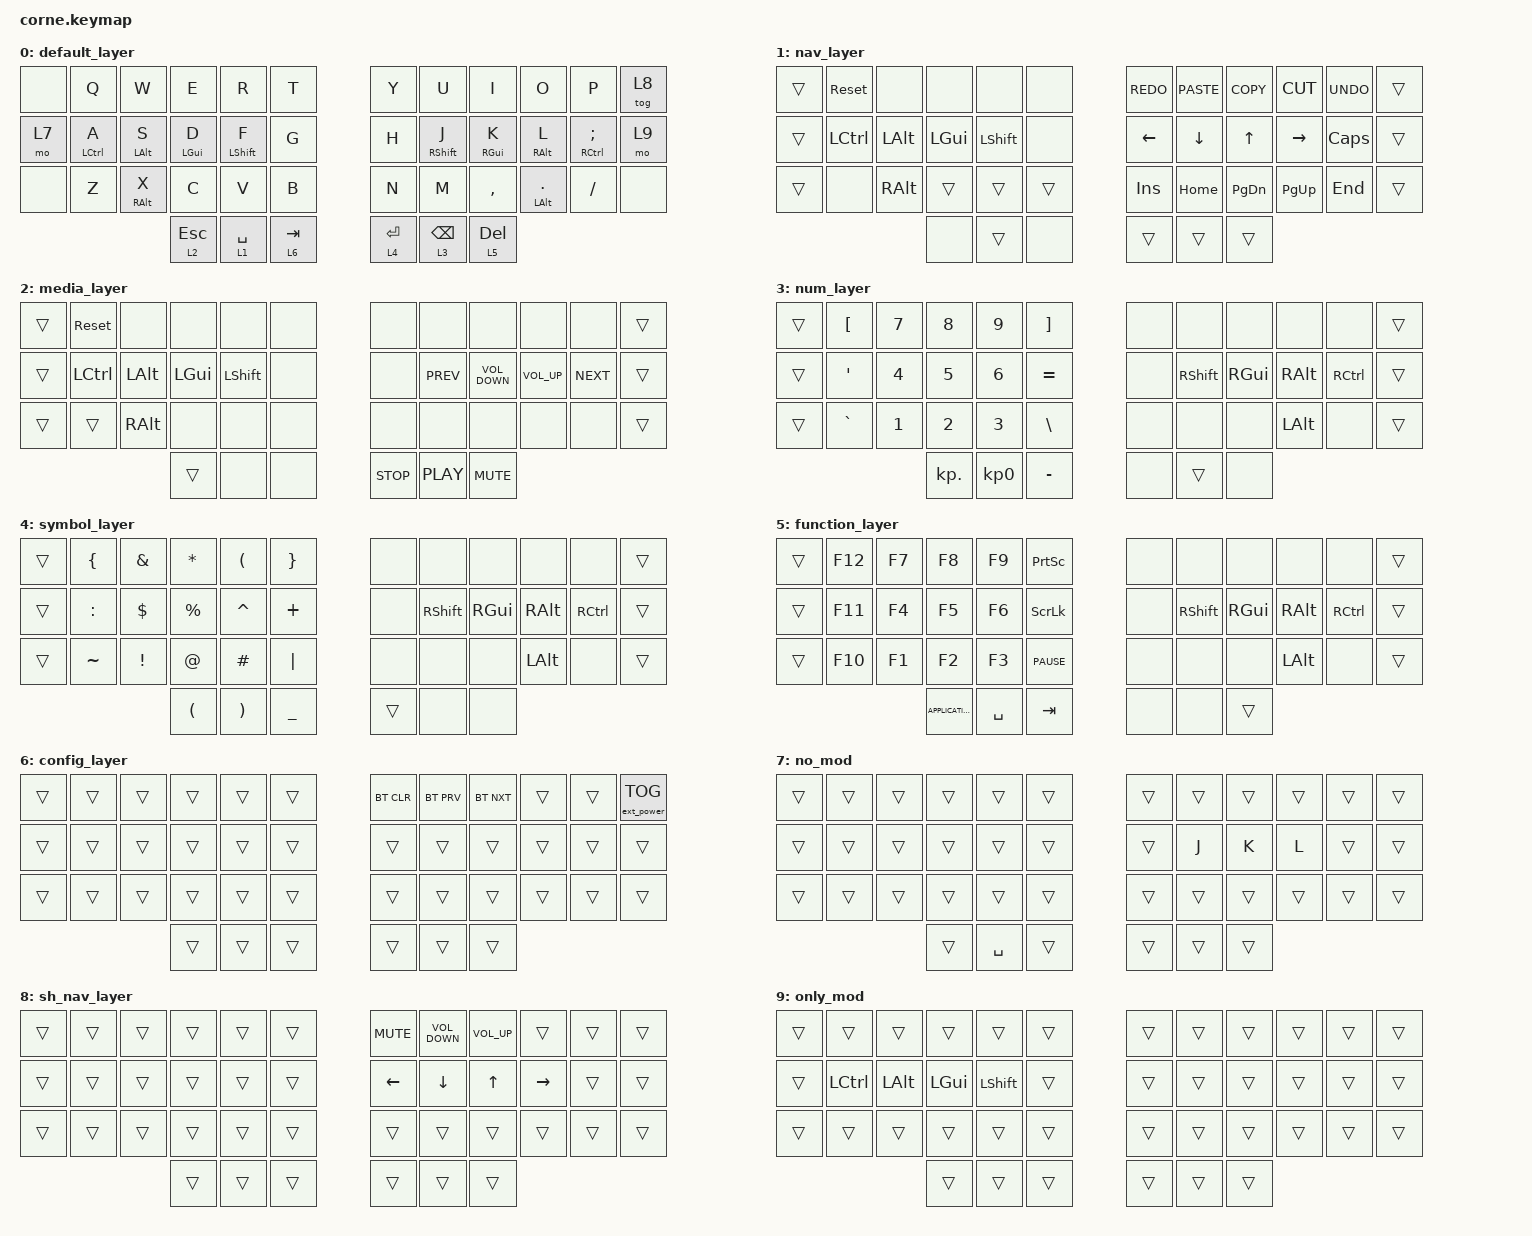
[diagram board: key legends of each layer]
/*
 * Copyright (c) 2020 The ZMK Contributors
 *
 * SPDX-License-Identifier: MIT
 */

#include <behaviors.dtsi>
#include <dt-bindings/zmk/bt.h>
#include <dt-bindings/zmk/ext_power.h>
#include <dt-bindings/zmk/keys.h>

&mt { tapping-term-ms = <300>; };

/ {
    keymap {
        compatible = "zmk,keymap";

        default_layer {
            // -----------------------------------------------------------------------------------------
            // |  TAB |  Q  |  W  |  E  |  R  |  T  |   |  Y  |  U   |  I  |  O  |  P  | BKSP |
            // | CTRL |  A  |  S  |  D  |  F  |  G  |   |  H  |  J   |  K  |  L  |  ;  |  '   |
            // | SHFT |  Z  |  X  |  C  |  V  |  B  |   |  N  |  M   |  ,  |  .  |  /  | ESC  |
            //                    | GUI | LWR | SPC |   | ENT | RSE  | ALT |

            bindings = <
&none  &kp Q        &kp W            &kp E           &kp R             &kp T        &kp Y      &kp U              &kp I            &kp O                &kp P                &tog 8
&mo 7  &mt LCTRL A  &mt LEFT_ALT S   &mt LEFT_GUI D  &mt LEFT_SHIFT F  &kp G        &kp H      &mt RIGHT_SHIFT J  &mt RIGHT_GUI K  &mt RIGHT_ALT L      &mt RCTRL SEMICOLON  &mo 9
&none  &kp Z        &mt RIGHT_ALT X  &kp C           &kp V             &kp B        &kp N      &kp M              &kp COMMA        &mt LEFT_ALT PERIOD  &kp FSLH             &none
                                     &lt 2 ESCAPE    &lt 1 SPACE       &lt 6 TAB    &lt 4 RET  &lt 3 BACKSPACE    &lt 5 DELETE
            >;
        };

        nav_layer {
            // -----------------------------------------------------------------------------------------
            // |  TAB |  1  |  2  |  3  |  4  |  5  |   |  6  |  7  |  8  |  9  |  0  | BKSP |
            // | BTCLR| BT1 | BT2 | BT3 | BT4 | BT5 |   | LFT | DWN |  UP | RGT |     |      |
            // | SHFT |     |     |     |     |     |   |     |     |     |     |     |      |
            //                    | GUI |     | SPC |   | ENT |     | ALT |

            bindings = <
&trans  &sys_reset  &none          &none         &none           &none     &kp K_REDO  &kp K_PASTE  &kp K_COPY     &kp K_CUT    &kp K_UNDO  &trans
&trans  &kp LCTRL   &kp LEFT_ALT   &kp LEFT_GUI  &kp LEFT_SHIFT  &none     &kp LEFT    &kp DOWN     &kp UP         &kp RIGHT    &kp CAPS    &trans
&trans  &none       &kp RIGHT_ALT  &trans        &trans          &trans    &kp INS     &kp HOME     &kp PAGE_DOWN  &kp PAGE_UP  &kp END     &trans
                                   &none         &trans          &none     &trans      &trans       &trans
            >;
        };

        media_layer {
            // -----------------------------------------------------------------------------------------
            // |  TAB |  !  |  @  |  #  |  $  |  %  |   |  ^  |  &  |  *  |  (  |  )  | BKSP |
            // | CTRL |     |     |     |     |     |   |  -  |  =  |  [  |  ]  |  \  |  `   |
            // | SHFT |     |     |     |     |     |   |  _  |  +  |  {  |  }  | "|" |  ~   |
            //                    | GUI |     | SPC |   | ENT |     | ALT |

            bindings = <
&trans  &sys_reset  &none          &none         &none           &none    &none       &none       &none              &none            &none       &trans
&trans  &kp LCTRL   &kp LEFT_ALT   &kp LEFT_GUI  &kp LEFT_SHIFT  &none    &none       &kp C_PREV  &kp C_VOLUME_DOWN  &kp C_VOLUME_UP  &kp C_NEXT  &trans
&trans  &trans      &kp RIGHT_ALT  &none         &none           &none    &none       &none       &none              &none            &none       &trans
                                   &trans        &none           &none    &kp C_STOP  &kp C_PLAY  &kp C_MUTE
            >;
        };

        num_layer {
            bindings = <
&trans  &kp LEFT_BRACKET  &kp N7        &kp N8        &kp N9           &kp RIGHT_BRACKET    &none  &none            &none          &none          &none      &trans
&trans  &kp SQT           &kp NUMBER_4  &kp N5        &kp NUMBER_6     &kp EQUAL            &none  &kp RIGHT_SHIFT  &kp RIGHT_GUI  &kp RIGHT_ALT  &kp RCTRL  &trans
&trans  &kp GRAVE         &kp NUMBER_1  &kp NUMBER_2  &kp NUMBER_3     &kp BACKSLASH        &none  &none            &none          &kp LEFT_ALT   &none      &trans
                                        &kp KP_DOT    &kp KP_NUMBER_0  &kp MINUS            &none  &trans           &none
            >;
        };

        symbol_layer {
            bindings = <
&trans  &kp LEFT_BRACE  &kp AMPS         &kp STAR              &kp LEFT_PARENTHESIS   &kp RIGHT_BRACE    &none   &none            &none          &none          &none      &trans
&trans  &kp COLON       &kp DOLLAR       &kp PERCENT           &kp CARET              &kp PLUS           &none   &kp RIGHT_SHIFT  &kp RIGHT_GUI  &kp RIGHT_ALT  &kp RCTRL  &trans
&trans  &kp TILDE       &kp EXCLAMATION  &kp AT_SIGN           &kp HASH               &kp PIPE           &none   &none            &none          &kp LEFT_ALT   &none      &trans
                                         &kp LEFT_PARENTHESIS  &kp RIGHT_PARENTHESIS  &kp UNDERSCORE     &trans  &none            &none
            >;
        };

        function_layer {
            bindings = <
&trans  &kp F12  &kp F7  &kp F8             &kp F9     &kp PRINTSCREEN    &none  &none            &none          &none          &none      &trans
&trans  &kp F11  &kp F4  &kp F5             &kp F6     &kp SCROLLLOCK     &none  &kp RIGHT_SHIFT  &kp RIGHT_GUI  &kp RIGHT_ALT  &kp RCTRL  &trans
&trans  &kp F10  &kp F1  &kp F2             &kp F3     &kp C_PAUSE        &none  &none            &none          &kp LEFT_ALT   &none      &trans
                         &kp K_APPLICATION  &kp SPACE  &kp TAB            &none  &none            &trans
            >;
        };

        config_layer {
            bindings = <
&trans  &trans  &trans  &trans  &trans  &trans    &bt BT_CLR  &bt BT_PRV  &bt BT_NXT  &trans  &trans  &ext_power EP_TOG
&trans  &trans  &trans  &trans  &trans  &trans    &trans      &trans      &trans      &trans  &trans  &trans
&trans  &trans  &trans  &trans  &trans  &trans    &trans      &trans      &trans      &trans  &trans  &trans
                        &trans  &trans  &trans    &trans      &trans      &trans
            >;
        };

        no_mod {
            bindings = <
&trans  &trans  &trans  &trans  &trans     &trans    &trans  &trans  &trans  &trans  &trans  &trans
&trans  &trans  &trans  &trans  &trans     &trans    &trans  &kp J   &kp K   &kp L   &trans  &trans
&trans  &trans  &trans  &trans  &trans     &trans    &trans  &trans  &trans  &trans  &trans  &trans
                        &trans  &kp SPACE  &trans    &trans  &trans  &trans
            >;
        };

        sh_nav_layer {
            bindings = <
&trans  &trans  &trans  &trans  &trans  &trans    &kp C_MUTE      &kp C_VOLUME_DOWN  &kp C_VOLUME_UP  &trans           &trans  &trans
&trans  &trans  &trans  &trans  &trans  &trans    &kp LEFT_ARROW  &kp DOWN_ARROW     &kp UP_ARROW     &kp RIGHT_ARROW  &trans  &trans
&trans  &trans  &trans  &trans  &trans  &trans    &trans          &trans             &trans           &trans           &trans  &trans
                        &trans  &trans  &trans    &trans          &trans             &trans
            >;
        };

        only_mod {
            bindings = <
&trans  &trans     &trans        &trans        &trans          &trans    &trans  &trans  &trans  &trans  &trans  &trans
&trans  &kp LCTRL  &kp LEFT_ALT  &kp LEFT_GUI  &kp LEFT_SHIFT  &trans    &trans  &trans  &trans  &trans  &trans  &trans
&trans  &trans     &trans        &trans        &trans          &trans    &trans  &trans  &trans  &trans  &trans  &trans
                                 &trans        &trans          &trans    &trans  &trans  &trans
            >;
        };
    };
};
